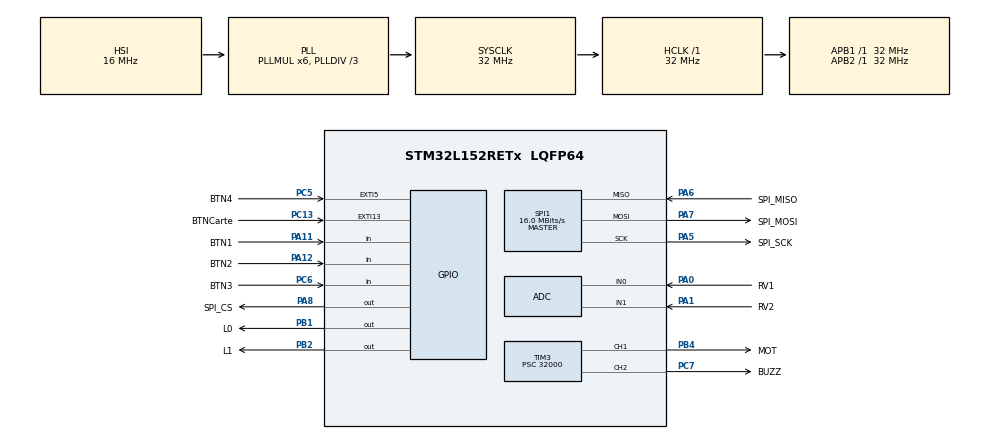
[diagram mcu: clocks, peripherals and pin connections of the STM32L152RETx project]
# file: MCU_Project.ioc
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ADC.Channel-3\#ChannelRegularConversion=ADC_CHANNEL_0
ADC.Channel-4\#ChannelRegularConversion=ADC_CHANNEL_1
ADC.NbrOfConversion=2
ADC.NbrOfConversionFlag=1
ADC.Rank-3\#ChannelRegularConversion=1
ADC.Rank-4\#ChannelRegularConversion=2
ADC.SamplingTime-3\#ChannelRegularConversion=ADC_SAMPLETIME_384CYCLES
ADC.SamplingTime-4\#ChannelRegularConversion=ADC_SAMPLETIME_384CYCLES
Mcu.Family=STM32L1
Mcu.Name=STM32L152RETx
Mcu.Package=LQFP64
NVIC.EXTI15_10_IRQn=true\:0\:0\:false\:false\:true\:true\:true\:true
NVIC.PriorityGroup=NVIC_PRIORITYGROUP_4
NVIC.TIM3_IRQn=true\:0\:0\:false\:false\:true\:true\:true\:true
PA0-WKUP1.GPIO_Label=RV1
PA0-WKUP1.Mode=IN0
PA0-WKUP1.Signal=ADC_IN0
PA1.GPIO_Label=RV2
PA1.Mode=IN1
PA1.Signal=ADC_IN1
PA11.GPIO_Label=BTN1
PA11.Signal=GPIO_Input
PA12.GPIO_Label=BTN2
PA12.Signal=GPIO_Input
PA13.Mode=Trace_Asynchronous_SW
PA13.Signal=SYS_JTMS-SWDIO
PA14.Mode=Trace_Asynchronous_SW
PA14.Signal=SYS_JTCK-SWCLK
PA5.GPIO_Label=SPI_SCK
PA5.Mode=Full_Duplex_Master
PA5.Signal=SPI1_SCK
PA6.GPIO_Label=SPI_MISO
PA6.Mode=Full_Duplex_Master
PA6.Signal=SPI1_MISO
PA7.GPIO_Label=SPI_MOSI
PA7.Mode=Full_Duplex_Master
PA7.Signal=SPI1_MOSI
PA8.GPIO_Label=SPI_CS
PA8.GPIO_PuPd=GPIO_PULLUP
PA8.Signal=GPIO_Output
PB1.GPIO_Label=L0
PB1.Signal=GPIO_Output
PB2.GPIO_Label=L1
PB2.Signal=GPIO_Output
PB3.Mode=Trace_Asynchronous_SW
PB3.Signal=SYS_JTDO-TRACESWO
PB4.GPIO_Label=MOT
PB4.Signal=S_TIM3_CH1
PC13-WKUP2.GPIO_Label=BTNCarte
PC13-WKUP2.Signal=GPXTI13
PC5.GPIO_Label=BTN4
PC5.Signal=GPXTI5
PC6.GPIO_Label=BTN3
PC6.Signal=GPIO_Input
PC7.GPIO_Label=BUZZ
PC7.Signal=S_TIM3_CH2
ProjectManager.HeapSize=0x200
ProjectManager.StackSize=0x400
ProjectManager.TargetToolchain=STM32CubeIDE
RCC.48MHZClocksFreq_Value=48000000
RCC.AHBFreq_Value=32000000
RCC.APB1Freq_Value=32000000
RCC.APB1TimFreq_Value=32000000
RCC.APB2Freq_Value=32000000
RCC.APB2TimFreq_Value=32000000
RCC.HCLKFreq_Value=32000000
RCC.HSE_VALUE=24000000
RCC.HSI_VALUE=16000000
RCC.LSE_VALUE=32768
RCC.MSI_VALUE=2097000
RCC.PLLDIV=RCC_PLL_DIV3
RCC.PLLMUL=RCC_PLL_MUL6
RCC.SYSCLKFreq_VALUE=32000000
RCC.SYSCLKSource=RCC_SYSCLKSOURCE_PLLCLK
RCC.VCOOutputFreq_Value=96000000
RTC.AsynchPrediv=124
RTC.Date=22
RTC.Hours=13
RTC.Minutes=20
RTC.Month=RTC_MONTH_FEBRUARY
RTC.WeekDay=RTC_WEEKDAY_THURSDAY
RTC.Year=24
SH.S_TIM3_CH1.0=TIM3_CH1,PWM Generation1 CH1
SH.S_TIM3_CH2.0=TIM3_CH2,PWM Generation2 CH2
SPI1.BaudRatePrescaler=SPI_BAUDRATEPRESCALER_2
SPI1.CalculateBaudRate=16.0 MBits/s
SPI1.Direction=SPI_DIRECTION_2LINES
SPI1.Mode=SPI_MODE_MASTER
SPI1.VirtualType=VM_MASTER
TIM3.Channel-PWM\ Generation1\ CH1=TIM_CHANNEL_1
TIM3.Channel-PWM\ Generation2\ CH2=TIM_CHANNEL_2
TIM3.OCFastMode_PWM-PWM\ Generation2\ CH2=TIM_OCFAST_DISABLE
TIM3.OCMode_PWM-PWM\ Generation2\ CH2=TIM_OCMODE_PWM1
TIM3.Period=1000
TIM3.Prescaler=32000
TIM3.Pulse-PWM\ Generation2\ CH2=500
VP_RTC_VS_RTC_Activate.Mode=RTC_Enabled
VP_RTC_VS_RTC_Calendar.Mode=RTC_Calendar
VP_TIM3_VS_ClockSourceINT.Mode=Internal
board=custom

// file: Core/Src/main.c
/* USER CODE BEGIN Header */
/**
 ******************************************************************************
 * @file           : main.c
 * @brief          : Main program body
 ******************************************************************************
 * @attention
 *
 * Copyright (c) 2024 STMicroelectronics.
 * All rights reserved.
 *
 * This software is licensed under terms that can be found in the LICENSE file
 * in the root directory of this software component.
 * If no LICENSE file comes with this software, it is provided AS-IS.
 *
 ******************************************************************************
 */
/* USER CODE END Header */
#include "main.h"

/* USER CODE BEGIN PD */
#define nb_fsh sizeof(fuseaux_horaires)/(sizeof(fuseaux_horaire[0]));
/* USER CODE END PD */

ADC_HandleTypeDef hadc;

RTC_HandleTypeDef hrtc;

SPI_HandleTypeDef hspi1;

TIM_HandleTypeDef htim3;

void SystemClock_Config(void);
static void MX_GPIO_Init(void);
static void MX_TIM3_Init(void);
static void MX_SPI1_Init(void);
static void MX_ADC_Init(void);
static void MX_RTC_Init(void);
/* USER CODE BEGIN PFP */
void affichemod();
void affiche_num();
void affiche_clear();
void affiche_fuseau_horaire_et_heure();
void boucle_affiche();
void fonctionmod();

void chronometre();
void arreter_chronometre();
void switchmode();

void adcsecondes();
void adcminutes(int conversion);
void adcfunction();
void adchorloge();
void decrementunites();
void decrementdizaines();
void decrementminutes();
void decrementdizainesminutes();

void BUZZ();
void MOT();

void minuteur();
void horloge();
void inithorloge();
void checkhorloge();

void affiche_heure_locale();
/* USER CODE END PFP */

/* USER CODE BEGIN 0 */
int mode = 1;
int stopchrono = 1;

int current_index = 0; // Index actuel dans le tableau des fuseaux horaires

int analogValue=0;
int analogValueMin=0;

volatile int valeur = 0;
volatile int valeurMin = 0;

int dizaines =0;
int unites =0;
int dizainesminutes = 0;
int minutes = 0;
int heures = 0;
int dizainesheures = 0;

int valide = 0;
volatile int adccheck =0;
int horlogevar = 0;
int moteur = 0;

typedef struct {
	char nom[4]; // Nom du fuseau horaire (par exemple "LA", "NYC", etc.)
	int decalage; // Décalage horaire par rapport à l'heure UTC (en heures)
} FuseauHoraire;
/* USER CODE END 0 */

int main(void)
{

	/* MCU Configuration--------------------------------------------------------*/

	/* Reset of all peripherals, Initializes the Flash interface and the Systick. */
	HAL_Init();

	/* Configure the system clock */
	SystemClock_Config();

	/* Initialize all configured peripherals */
	MX_GPIO_Init();
	MX_TIM3_Init();
	MX_SPI1_Init();
	MX_ADC_Init();
	MX_RTC_Init();
	/* USER CODE BEGIN 2 */

	affichemod();

	/* USER CODE END 2 */

	/* Infinite loop */
	while (1)
	{

		/* USER CODE BEGIN 3 */
		fonctionmod();

	}

	/* USER CODE END 3 */
}

void SystemClock_Config(void)
{
	RCC_OscInitTypeDef RCC_OscInitStruct = {0};
	RCC_ClkInitTypeDef RCC_ClkInitStruct = {0};
	RCC_PeriphCLKInitTypeDef PeriphClkInit = {0};

	/** Configure the main internal regulator output voltage
	 */
	__HAL_PWR_VOLTAGESCALING_CONFIG(PWR_REGULATOR_VOLTAGE_SCALE1);

	/** Initializes the RCC Oscillators according to the specified parameters
	 * in the RCC_OscInitTypeDef structure.
	 */
	RCC_OscInitStruct.OscillatorType = RCC_OSCILLATORTYPE_HSI|RCC_OSCILLATORTYPE_LSI;
	RCC_OscInitStruct.HSIState = RCC_HSI_ON;
	RCC_OscInitStruct.HSICalibrationValue = RCC_HSICALIBRATION_DEFAULT;
	RCC_OscInitStruct.LSIState = RCC_LSI_ON;
	RCC_OscInitStruct.PLL.PLLState = RCC_PLL_ON;
	RCC_OscInitStruct.PLL.PLLSource = RCC_PLLSOURCE_HSI;
	RCC_OscInitStruct.PLL.PLLMUL = RCC_PLL_MUL6;
	RCC_OscInitStruct.PLL.PLLDIV = RCC_PLL_DIV3;
	if (HAL_RCC_OscConfig(&RCC_OscInitStruct) != HAL_OK)
	{
		Error_Handler();
	}

	/** Initializes the CPU, AHB and APB buses clocks
	 */
	RCC_ClkInitStruct.ClockType = RCC_CLOCKTYPE_HCLK|RCC_CLOCKTYPE_SYSCLK
			|RCC_CLOCKTYPE_PCLK1|RCC_CLOCKTYPE_PCLK2;
	RCC_ClkInitStruct.SYSCLKSource = RCC_SYSCLKSOURCE_PLLCLK;
	RCC_ClkInitStruct.AHBCLKDivider = RCC_SYSCLK_DIV1;
	RCC_ClkInitStruct.APB1CLKDivider = RCC_HCLK_DIV1;
	RCC_ClkInitStruct.APB2CLKDivider = RCC_HCLK_DIV1;

	if (HAL_RCC_ClockConfig(&RCC_ClkInitStruct, FLASH_LATENCY_1) != HAL_OK)
	{
		Error_Handler();
	}
	PeriphClkInit.PeriphClockSelection = RCC_PERIPHCLK_RTC;
	PeriphClkInit.RTCClockSelection = RCC_RTCCLKSOURCE_LSI;
	if (HAL_RCCEx_PeriphCLKConfig(&PeriphClkInit) != HAL_OK)
	{
		Error_Handler();
	}
}

static void MX_ADC_Init(void)
{

	ADC_ChannelConfTypeDef sConfig = {0};

	/** Configure the global features of the ADC (Clock, Resolution, Data Alignment and number of conversion)
	 */
	hadc.Instance = ADC1;
	hadc.Init.ClockPrescaler = ADC_CLOCK_ASYNC_DIV1;
	hadc.Init.Resolution = ADC_RESOLUTION_12B;
	hadc.Init.DataAlign = ADC_DATAALIGN_RIGHT;
	hadc.Init.ScanConvMode = ADC_SCAN_DISABLE;
	hadc.Init.EOCSelection = ADC_EOC_SEQ_CONV;
	hadc.Init.LowPowerAutoWait = ADC_AUTOWAIT_DISABLE;
	hadc.Init.LowPowerAutoPowerOff = ADC_AUTOPOWEROFF_DISABLE;
	hadc.Init.ChannelsBank = ADC_CHANNELS_BANK_A;
	hadc.Init.ContinuousConvMode = DISABLE;
	hadc.Init.NbrOfConversion = 2;
	hadc.Init.DiscontinuousConvMode = DISABLE;
	hadc.Init.ExternalTrigConv = ADC_SOFTWARE_START;
	hadc.Init.ExternalTrigConvEdge = ADC_EXTERNALTRIGCONVEDGE_NONE;
	hadc.Init.DMAContinuousRequests = DISABLE;
	if (HAL_ADC_Init(&hadc) != HAL_OK)
	{
		Error_Handler();
	}

	/** Configure for the selected ADC regular channel its corresponding rank in the sequencer and its sample time.
	 */
	sConfig.Channel = ADC_CHANNEL_0;
	sConfig.Rank = ADC_REGULAR_RANK_1;
	sConfig.SamplingTime = ADC_SAMPLETIME_384CYCLES;
	if (HAL_ADC_ConfigChannel(&hadc, &sConfig) != HAL_OK)
	{
		Error_Handler();
	}

	/** Configure for the selected ADC regular channel its corresponding rank in the sequencer and its sample time.
	 */
	sConfig.Channel = ADC_CHANNEL_1;
	sConfig.Rank = ADC_REGULAR_RANK_2;
	if (HAL_ADC_ConfigChannel(&hadc, &sConfig) != HAL_OK)
	{
		Error_Handler();
	}

}

static void MX_RTC_Init(void)
{

	RTC_TimeTypeDef sTime = {0};
	RTC_DateTypeDef sDate = {0};

	/** Initialize RTC Only
	 */
	hrtc.Instance = RTC;
	hrtc.Init.HourFormat = RTC_HOURFORMAT_24;
	hrtc.Init.AsynchPrediv = 124;
	hrtc.Init.SynchPrediv = 255;
	hrtc.Init.OutPut = RTC_OUTPUT_DISABLE;
	hrtc.Init.OutPutPolarity = RTC_OUTPUT_POLARITY_HIGH;
	hrtc.Init.OutPutType = RTC_OUTPUT_TYPE_OPENDRAIN;
	if (HAL_RTC_Init(&hrtc) != HAL_OK)
	{
		Error_Handler();
	}

	/** Initialize RTC and set the Time and Date
	 */
	sTime.Hours = 0x13;
	sTime.Minutes = 0x20;
	sTime.Seconds = 0x0;
	sTime.DayLightSaving = RTC_DAYLIGHTSAVING_NONE;
	sTime.StoreOperation = RTC_STOREOPERATION_RESET;
	if (HAL_RTC_SetTime(&hrtc, &sTime, RTC_FORMAT_BCD) != HAL_OK)
	{
		Error_Handler();
	}
	sDate.WeekDay = RTC_WEEKDAY_THURSDAY;
	sDate.Month = RTC_MONTH_FEBRUARY;
	sDate.Date = 0x22;
	sDate.Year = 0x24;

	if (HAL_RTC_SetDate(&hrtc, &sDate, RTC_FORMAT_BCD) != HAL_OK)
	{
		Error_Handler();
	}

}

static void MX_SPI1_Init(void)
{

	/* SPI1 parameter configuration*/
	hspi1.Instance = SPI1;
	hspi1.Init.Mode = SPI_MODE_MASTER;
	hspi1.Init.Direction = SPI_DIRECTION_2LINES;
	hspi1.Init.DataSize = SPI_DATASIZE_8BIT;
	hspi1.Init.CLKPolarity = SPI_POLARITY_LOW;
	hspi1.Init.CLKPhase = SPI_PHASE_1EDGE;
	hspi1.Init.NSS = SPI_NSS_SOFT;
	hspi1.Init.BaudRatePrescaler = SPI_BAUDRATEPRESCALER_2;
	hspi1.Init.FirstBit = SPI_FIRSTBIT_MSB;
	hspi1.Init.TIMode = SPI_TIMODE_DISABLE;
	hspi1.Init.CRCCalculation = SPI_CRCCALCULATION_DISABLE;
	hspi1.Init.CRCPolynomial = 10;
	if (HAL_SPI_Init(&hspi1) != HAL_OK)
	{
		Error_Handler();
	}

}

static void MX_TIM3_Init(void)
{

	TIM_ClockConfigTypeDef sClockSourceConfig = {0};
	TIM_MasterConfigTypeDef sMasterConfig = {0};
	TIM_OC_InitTypeDef sConfigOC = {0};

	htim3.Instance = TIM3;
	htim3.Init.Prescaler = 32000;
	htim3.Init.CounterMode = TIM_COUNTERMODE_UP;
	htim3.Init.Period = 1000;
	htim3.Init.ClockDivision = TIM_CLOCKDIVISION_DIV1;
	htim3.Init.AutoReloadPreload = TIM_AUTORELOAD_PRELOAD_DISABLE;
	if (HAL_TIM_Base_Init(&htim3) != HAL_OK)
	{
		Error_Handler();
	}
	sClockSourceConfig.ClockSource = TIM_CLOCKSOURCE_INTERNAL;
	if (HAL_TIM_ConfigClockSource(&htim3, &sClockSourceConfig) != HAL_OK)
	{
		Error_Handler();
	}
	if (HAL_TIM_PWM_Init(&htim3) != HAL_OK)
	{
		Error_Handler();
	}
	sMasterConfig.MasterOutputTrigger = TIM_TRGO_RESET;
	sMasterConfig.MasterSlaveMode = TIM_MASTERSLAVEMODE_DISABLE;
	if (HAL_TIMEx_MasterConfigSynchronization(&htim3, &sMasterConfig) != HAL_OK)
	{
		Error_Handler();
	}
	sConfigOC.OCMode = TIM_OCMODE_PWM1;
	sConfigOC.Pulse = 0;
	sConfigOC.OCPolarity = TIM_OCPOLARITY_HIGH;
	sConfigOC.OCFastMode = TIM_OCFAST_DISABLE;
	if (HAL_TIM_PWM_ConfigChannel(&htim3, &sConfigOC, TIM_CHANNEL_1) != HAL_OK)
	{
		Error_Handler();
	}
	sConfigOC.Pulse = 500;
	if (HAL_TIM_PWM_ConfigChannel(&htim3, &sConfigOC, TIM_CHANNEL_2) != HAL_OK)
	{
		Error_Handler();
	}
	HAL_TIM_MspPostInit(&htim3);

}

static void MX_GPIO_Init(void)
{
	GPIO_InitTypeDef GPIO_InitStruct = {0};

	/* GPIO Ports Clock Enable */
	__HAL_RCC_GPIOC_CLK_ENABLE();
	__HAL_RCC_GPIOA_CLK_ENABLE();
	__HAL_RCC_GPIOB_CLK_ENABLE();

	/*Configure GPIO pin Output Level */
	HAL_GPIO_WritePin(GPIOB, L0_Pin|L1_Pin, GPIO_PIN_RESET);

	/*Configure GPIO pin Output Level */
	HAL_GPIO_WritePin(SPI_CS_GPIO_Port, SPI_CS_Pin, GPIO_PIN_RESET);

	/*Configure GPIO pins : BTNCarte_Pin BTN4_Pin */
	GPIO_InitStruct.Pin = BTNCarte_Pin|BTN4_Pin;
	GPIO_InitStruct.Mode = GPIO_MODE_IT_RISING;
	GPIO_InitStruct.Pull = GPIO_NOPULL;
	HAL_GPIO_Init(GPIOC, &GPIO_InitStruct);

	/*Configure GPIO pins : L0_Pin L1_Pin */
	GPIO_InitStruct.Pin = L0_Pin|L1_Pin;
	GPIO_InitStruct.Mode = GPIO_MODE_OUTPUT_PP;
	GPIO_InitStruct.Pull = GPIO_NOPULL;
	GPIO_InitStruct.Speed = GPIO_SPEED_FREQ_LOW;
	HAL_GPIO_Init(GPIOB, &GPIO_InitStruct);

	/*Configure GPIO pin : BTN3_Pin */
	GPIO_InitStruct.Pin = BTN3_Pin;
	GPIO_InitStruct.Mode = GPIO_MODE_INPUT;
	GPIO_InitStruct.Pull = GPIO_NOPULL;
	HAL_GPIO_Init(BTN3_GPIO_Port, &GPIO_InitStruct);

	/*Configure GPIO pin : SPI_CS_Pin */
	GPIO_InitStruct.Pin = SPI_CS_Pin;
	GPIO_InitStruct.Mode = GPIO_MODE_OUTPUT_PP;
	GPIO_InitStruct.Pull = GPIO_PULLUP;
	GPIO_InitStruct.Speed = GPIO_SPEED_FREQ_LOW;
	HAL_GPIO_Init(SPI_CS_GPIO_Port, &GPIO_InitStruct);

	/*Configure GPIO pins : BTN1_Pin BTN2_Pin */
	GPIO_InitStruct.Pin = BTN1_Pin|BTN2_Pin;
	GPIO_InitStruct.Mode = GPIO_MODE_INPUT;
	GPIO_InitStruct.Pull = GPIO_NOPULL;
	HAL_GPIO_Init(GPIOA, &GPIO_InitStruct);

	/* EXTI interrupt init*/
	HAL_NVIC_SetPriority(EXTI15_10_IRQn, 0, 0);
	HAL_NVIC_EnableIRQ(EXTI15_10_IRQn);

}

/* USER CODE BEGIN 4 */

// Tableau des fuseaux horaires pour différentes villes
FuseauHoraire fuseaux_horaires[] = {
		{"LA", -9},  // Los Angeles
		{"NC", -6},  // New York
		{"LON", -1},   // Londres
		{"PAR", 0},   // Paris
		{"JAP", 8}    // Tokyo
};
//afficher_heure(fuseaux_horaires[i].acronyme, fuseaux_horaires[i].decalage_horaire);

int _write(int file, char *ptr, int len)
{
	int DataIdx;

	for (DataIdx = 0; DataIdx < len; DataIdx++)
	{
		//__io_putchar(*ptr++);
		ITM_SendChar(*ptr++);
	}
	return len;
}

void affichemod(){
	MAX7219_Clear();
	MAX7219_Init();
	MAX7219_DisplayChar(1,'S', 0); // Pas de point décimal
	MAX7219_DisplayChar(2,'E', 0); // Avec point décimal
	MAX7219_DisplayChar(3,'T', 1); // Pas de point décimal
	switchmode();
}

void affiche_num(){
	MAX7219_Clear();
	MAX7219_Init();

	dizainesminutes = valeurMin / 10;
	minutes = valeurMin % 10;
	dizaines = valeur / 10;
	unites = valeur % 10;

	MAX7219_DisplayChar(1, dizainesminutes + '0', 0);
	MAX7219_DisplayChar(2, minutes + '0', 1);
	MAX7219_DisplayChar(3, dizaines + '0', 0);
	MAX7219_DisplayChar(4, unites + '0', 0);
}

void affiche_horloge(){
	MAX7219_Clear();
	MAX7219_Init();

	dizainesminutes = valeurMin / 10;
	minutes = valeurMin % 10;
	dizainesheures = valeur / 10;
	heures = valeur % 10;

	MAX7219_DisplayChar(1, dizainesheures + '0', 0);
	MAX7219_DisplayChar(2, heures + '0', 1);
	MAX7219_DisplayChar(3, dizainesminutes + '0', 0);
	MAX7219_DisplayChar(4, minutes + '0', 0);

}

void affiche_clear(){
	MAX7219_Clear();
	MAX7219_Init();
	MAX7219_DisplayChar(1, dizainesminutes + '0', 0);
	MAX7219_DisplayChar(2, minutes + '0', 1);
	MAX7219_DisplayChar(3, dizaines + '0', 0);
	MAX7219_DisplayChar(4, unites + '0', 0);

}

void affiche_fuseau_horaire_et_heure() {
	// Afficher le fuseau horaire
	char *fuseau = fuseaux_horaires[current_index].nom;
	for (size_t i = 0; i < strlen(fuseau); i++) {
		MAX7219_DisplayChar(i+1, fuseau[i], 0);
		HAL_Delay(500);
	}
	// Effacer les caractères restants
	for (size_t i = strlen(fuseau); i < 4; i++) {
		MAX7219_DisplayChar(i+1, ' ', 0);
		HAL_Delay(500);
	}

	// Calculer et afficher l'heure locale
	affiche_heure_locale();
}

void affiche_heure_locale() {
	// Récupérer le décalage horaire du fuseau horaire actuel
	int decalage = fuseaux_horaires[current_index].decalage;

	RTC_TimeTypeDef sTime;
	RTC_DateTypeDef sDate;

	HAL_RTC_GetDate(&hrtc, &sDate, RTC_FORMAT_BIN);
	HAL_RTC_GetTime(&hrtc, &sTime, RTC_FORMAT_BIN);

	// Calculer l'heure locale en ajoutant le décalage
	int valeurdecalage = sTime.Hours + decalage;

	// Gérer les cas où l'heure dépasse 24 heures ou est inférieure à 0
	if (valeurdecalage >= 24) {
		valeurdecalage -= 24;
	} else if (valeurdecalage < 0) {
		valeurdecalage += 24;
	}

	// Afficher l'heure locale sur l'afficheur 7 segments
	MAX7219_DisplayChar(1, (valeurdecalage / 10) + '0', 0);
	MAX7219_DisplayChar(2, (valeurdecalage % 10) + '0', 1);
	MAX7219_DisplayChar(3, (sTime.Minutes / 10) + '0', 0);
	MAX7219_DisplayChar(4, (sTime.Minutes  % 10) + '0', 0);
}

void boucle_affiche() {
	affiche_fuseau_horaire_et_heure();
	current_index = (current_index + 1) % (sizeof(fuseaux_horaires) / sizeof(fuseaux_horaires[0]));
	HAL_Delay(2000);
}

void dodo(){
	printf("Entrée en mode SLEEP\n");
	HAL_SuspendTick();
	HAL_PWR_EnterSLEEPMode(PWR_LOWPOWERREGULATOR_ON, PWR_STOPENTRY_WFI);;
}

void reveil(){
	HAL_ResumeTick();
	printf("Sortie du mode SLEEP\n");
}

void fonctionmod(){
	/*
	if (HAL_GPIO_ReadPin(BTN3_GPIO_Port, BTN3_Pin) == GPIO_PIN_RESET){
		dodo();
	}
	*/

	switch(mode){
	case 1:
		if (HAL_GPIO_ReadPin(BTN1_GPIO_Port, BTN1_Pin) == GPIO_PIN_RESET) {
			printf("Lancement du chronometre \n");
			chronometre();
		}
		break;

	case 2:
		HAL_Delay(200);
		if (mode == 2){
			if (valide == 0){
				//Faire un getTickCount pour eviter de spam le terminal.
				printf("Reglage du minuteur\n");
				adcfunction();
				affiche_num();
			}
			if (HAL_GPIO_ReadPin(BTN1_GPIO_Port, BTN1_Pin) == GPIO_PIN_RESET){
				HAL_ADC_Stop(&hadc);
				adccheck ++;
				printf("Temps valide !\n");
				if (adccheck == 2){
					valide = 1;
					printf("Lancement du minuteur\n");
					minuteur();
				}
			}
		}

	case 3:
		HAL_Delay(200);
		if (mode == 3){
			if (valide == 0){
				if (horlogevar != 0){
					printf("Reglage de l'alarme\n");
					adchorloge();
					affiche_horloge();
				}
				else{
					horloge();
					HAL_Delay(1000);
				}
				if (HAL_GPIO_ReadPin(BTN2_GPIO_Port, BTN2_Pin) == GPIO_PIN_RESET){
					horlogevar = 1;
				}
			}
			if (HAL_GPIO_ReadPin(BTN1_GPIO_Port, BTN1_Pin) == GPIO_PIN_RESET){
				HAL_ADC_Stop(&hadc);
				adccheck ++;
				printf("Temps valide !\n");
			}
			if (adccheck >= 2){
				valide =1;
				checkhorloge();
			}
		}
		break;

	case 4:
		HAL_Delay(200);
		if (HAL_GPIO_ReadPin(BTN1_GPIO_Port, BTN1_Pin) == GPIO_PIN_RESET){
			while (mode == 4){
				boucle_affiche();
			}

		}

		break;

	default :
		break;
	}
}

void chronometre() {
	MAX7219_Clear();
	MAX7219_Init();
	stopchrono = 1 ;

	uint32_t start_time = HAL_GetTick(); // Temps de départ en millisecondes

	uint32_t minutes = 0; // Initialisation des minutes à 0
	uint32_t seconds = 0; // Initialisation des secondes à 0
	while ((minutes < 99)&&(stopchrono == 1)) {
		uint32_t elapsed_time = HAL_GetTick() - start_time; // Temps écoulé depuis le début du chronomètre

		// Calculez les minutes et les secondes
		minutes = (elapsed_time / (1000 * 60)) % 100;
		seconds = (elapsed_time / 1000) % 60;

		// Affichez les valeurs calculées sur les afficheurs 7 segments
		MAX7219_DisplayChar(1, minutes / 10 + '0', 0);
		MAX7219_DisplayChar(2, minutes % 10 + '0', 1);
		MAX7219_DisplayChar(3, seconds / 10 + '0', 0);
		MAX7219_DisplayChar(4, seconds % 10 + '0', 0);

		HAL_Delay(1000);

		if (HAL_GPIO_ReadPin(BTN2_GPIO_Port, BTN2_Pin) == GPIO_PIN_RESET){
			arreter_chronometre();
		}
	}
}

void arreter_chronometre() {
	printf("Arret du chronometre\n");
	stopchrono = 0;
}

void switchmode(){
	switch(mode){
	case 1:
		MAX7219_DisplayChar(4,'1', 0); // Pas de point décimal
		break;
	case 2:
		MAX7219_DisplayChar(4,'2', 0);
		break;
	case 3:
		MAX7219_DisplayChar(4,'3', 0); // Pas de point décimal
		break;
	case 4:
		MAX7219_DisplayChar(4,'4', 0);
		break;
	}
}

void adcsecondes(){
	//Secondes
	HAL_ADC_Start(&hadc);
	ADC_ChannelConfTypeDef sConfig = {0};
	sConfig.Channel = ADC_CHANNEL_0;
	HAL_ADC_ConfigChannel(&hadc, &sConfig);
	HAL_ADC_PollForEvent(&hadc, ADC_AWD_EVENT, 1000);
	HAL_ADC_PollForConversion(&hadc, 1000);
	analogValue = HAL_ADC_GetValue(&hadc);
	valeur = analogValue / 68;

	HAL_ADC_Stop(&hadc);
	HAL_Delay(50);
}

void adcminutes(int conversion){
	// Minutes
	HAL_ADC_Start(&hadc);
	ADC_ChannelConfTypeDef sConfig = {0};
	sConfig.Channel = ADC_CHANNEL_1; // Réaffectation du canal ADC
	HAL_ADC_ConfigChannel(&hadc, &sConfig);
	HAL_ADC_PollForEvent(&hadc, ADC_AWD_EVENT, 1000);
	HAL_ADC_PollForConversion(&hadc, 1000);
	analogValueMin = HAL_ADC_GetValue(&hadc);
	valeurMin = analogValueMin / conversion;

	HAL_ADC_Stop(&hadc);
	//printf("ADC ValueMin= %d\n", analogValueMin);
	printf("Minutes : %d\n",valeurMin);
	HAL_Delay(50);
}

void adcheures(){
	// Heures
	HAL_ADC_Start(&hadc);
	ADC_ChannelConfTypeDef sConfig = {0};
	sConfig.Channel = ADC_CHANNEL_1; // Réaffectation du canal ADC
	HAL_ADC_ConfigChannel(&hadc, &sConfig);
	HAL_ADC_PollForEvent(&hadc, ADC_AWD_EVENT, 1000);
	HAL_ADC_PollForConversion(&hadc, 1000);
	analogValue = HAL_ADC_GetValue(&hadc);
	valeur = analogValue / 170;

	printf("Heures : %d\n",valeur);

	HAL_ADC_Stop(&hadc);
	HAL_Delay(50);
}

void adcfunction(){
	if (adccheck == 0){
		adcsecondes();
	}
	else if (adccheck == 1){
		HAL_GPIO_WritePin(L0_GPIO_Port, L0_Pin, GPIO_PIN_SET);
		adcminutes(41);
	}
}

void adchorloge(){
	if (adccheck == 0){
		adcminutes(68);
	}
	else if (adccheck == 1){
		HAL_GPIO_WritePin(L0_GPIO_Port, L0_Pin, GPIO_PIN_SET);
		adcheures();
	}
}

void decrementunites(){
	while (unites > 0){
		unites --;
		MAX7219_DisplayChar(4, unites + '0', 0);
		HAL_Delay(1000);
	}
}

void decrementdizaines(){
	while (dizaines > 0){
		decrementunites();
		dizaines --;
		unites = 9;
		MAX7219_DisplayChar(3, dizaines + '0', 0);
		MAX7219_DisplayChar(4, unites + '0', 0);
		HAL_Delay(1000);
		decrementunites();
	}
}

void decrementminutes(){
	while(minutes > 0){
		decrementunites();
		decrementdizaines();
		minutes --;
		dizaines = 6;
		MAX7219_DisplayChar(2, minutes + '0', 1);
		MAX7219_DisplayChar(3, dizaines + '0', 0);
		decrementunites();
		decrementdizaines();
	}
}

void decrementdizainesminutes(){
	while(dizainesminutes > 0){
		decrementunites();
		decrementdizaines();
		decrementminutes();
		dizainesminutes --;
		minutes = 10;
		MAX7219_DisplayChar(1, dizainesminutes + '0', 0);
		MAX7219_DisplayChar(2, minutes + '0', 1);
		decrementunites();
		decrementdizaines();
		decrementminutes();
	}
}

void BUZZ(int i){
	HAL_TIM_Base_Start(&htim3);
	for (int j=0; j<i;j++){
		HAL_TIM_PWM_Start(&htim3,TIM_CHANNEL_2);
		HAL_Delay(2000);
		HAL_TIM_PWM_Stop(&htim3,TIM_CHANNEL_2);
	}
}

void MOT(){
	HAL_TIM_Base_Start(&htim3);
	HAL_TIM_PWM_Start(&htim3,TIM_CHANNEL_1);
	while (moteur == 0){
		if (htim3.Instance->CCR1 < 250){
			htim3.Instance->CCR1 += 50;
			HAL_Delay(200);
		}
		else{
			htim3.Instance->CCR1 = 0;
			HAL_Delay(100);
		}
		if (HAL_GPIO_ReadPin(BTN2_GPIO_Port, BTN2_Pin) == GPIO_PIN_RESET){
			moteur = 1;
		}
	}
	HAL_TIM_PWM_Stop(&htim3,TIM_CHANNEL_1);
}

void minuteur(){
	while ((dizainesminutes != 0) || (minutes != 0) || (dizaines != 0) || (unites !=0 )){
		HAL_GPIO_WritePin(L1_GPIO_Port, L1_Pin, GPIO_PIN_SET);
		if (dizainesminutes != 0) {decrementdizainesminutes();}
		if (minutes !=0) {decrementminutes();}
		if (dizaines !=0) {decrementdizaines();}
		if (unites !=0) {decrementunites();}
	}
	BUZZ(5);

	unites = 0;
	dizaines = 0;
	minutes = 0;
	dizainesminutes = 0;

	HAL_GPIO_WritePin(L0_GPIO_Port, L0_Pin, GPIO_PIN_RESET);
	HAL_GPIO_WritePin(L1_GPIO_Port, L1_Pin, GPIO_PIN_RESET);

	adccheck = 0;
	valide = 0;
	affiche_num();
}

void horloge(){
	RTC_TimeTypeDef sTime;
	RTC_DateTypeDef sDate;

	HAL_RTC_GetDate(&hrtc, &sDate, RTC_FORMAT_BIN);
	HAL_RTC_GetTime(&hrtc, &sTime, RTC_FORMAT_BIN);

	MAX7219_Clear();
	MAX7219_Init();
	MAX7219_DisplayChar(1, sTime.Hours / 10 + '0', 0);
	MAX7219_DisplayChar(2, sTime.Hours % 10 + '0', 1);
	MAX7219_DisplayChar(3, sTime.Minutes / 10 + '0', 0);
	MAX7219_DisplayChar(4, sTime.Minutes % 10 + '0', 0);
	printf("%02d:%02d:%02d\r\n", sTime.Hours, sTime.Minutes, sTime.Seconds);

}

void inithorloge(){
	horloge();
}

void checkhorloge(){
	RTC_TimeTypeDef sTime;
	RTC_DateTypeDef sDate;
	HAL_RTC_GetDate(&hrtc, &sDate, RTC_FORMAT_BIN);
	HAL_RTC_GetTime(&hrtc, &sTime, RTC_FORMAT_BIN);

	if (((valeur >= sTime.Hours) &&(valeurMin >= sTime.Minutes)) || (valeur >= sTime.Hours)){
		printf("Temps actuel : %d Heures, %d Minutes\n",sTime.Hours, sTime.Minutes);
		printf("Heure de l'alarme : %d Heures, %d Minutes\n",valeur, valeurMin);
		HAL_RTC_GetDate(&hrtc, &sDate, RTC_FORMAT_BIN);
		HAL_RTC_GetTime(&hrtc, &sTime, RTC_FORMAT_BIN);
	}

	if ((valeurMin <= sTime.Minutes) && (valeur <= sTime.Hours)){

		printf("ALARME\n");
		MOT();
		horlogevar = 0;
		valide = 0;
		adccheck = 0;
		moteur = 0;
		affiche_clear();
		HAL_GPIO_WritePin(L0_GPIO_Port, L0_Pin, GPIO_PIN_RESET);
	}
}

void HAL_GPIO_EXTI_Callback(uint16_t GPIO_Pin){

	switch (GPIO_Pin){
	case BTNCarte_Pin :
		if (mode < 4){
			mode ++;
			printf("Mode : %d\n", mode);
		}
		else{
			mode = 1;
			printf("Mode : %d\n", mode);
		}
		affichemod();
		break;

	case BTN4_Pin:
		reveil();
		break;
	default :
		break;
	}
}

/* USER CODE END 4 */

void Error_Handler(void)
{
	__disable_irq();
	while (1)
	{
	}
}
